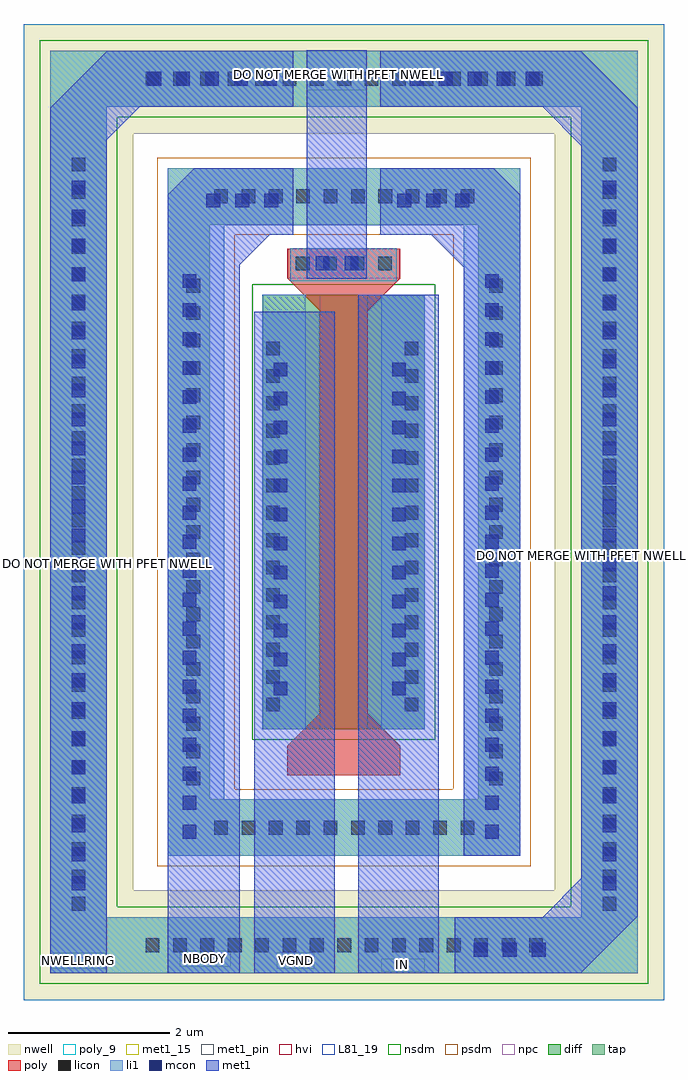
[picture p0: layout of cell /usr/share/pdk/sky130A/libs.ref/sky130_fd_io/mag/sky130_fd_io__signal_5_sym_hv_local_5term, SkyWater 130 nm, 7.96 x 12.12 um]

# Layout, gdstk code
import gdstk
lib = gdstk.Library(unit=1e-6, precision=1e-09)
def R(c, l, rs):  # rectangles x0, y0, x1, y1
    for r in rs: c.add(gdstk.rectangle(r[:2], r[2:], *l))
def A(c, l, x, y, w, h, nx, ny, dx, dy):  # array of equal rectangles
    R(c, l, [(x+i*dx, y+j*dy, x+i*dx+w, y+j*dy+h) for i in range(nx) for j in range(ny)])
def P(c, l, *ps):  # polygons
    for p in ps: c.add(gdstk.Polygon(p, *l))
nwell = (64, 20)
diff = (65, 20)
tap = (65, 44)
poly_9 = (66, 9)
poly = (66, 20)
licon = (66, 44)
li1 = (67, 20)
mcon = (67, 44)
met1_15 = (68, 15)
met1_pin = (68, 16)
met1 = (68, 20)
hvi = (75, 20)
L81_19 = (81, 19)
nsdm = (93, 44)
psdm = (94, 20)
npc = (95, 20)

sky130_fd_pr__via_pol1__ = lib.new_cell('sky130_fd_pr__via_pol1__example_55959141808147')
R(sky130_fd_pr__via_pol1__, poly, [(0,0,1.35,0.33)])
A(sky130_fd_pr__via_pol1__, licon, 0.08, 0.08, 0.17, 0.17, 4, 1, 0.34, 0)
R(sky130_fd_pr__via_pol1__, li1, [(0.08,0,1.27,0.33)])
R(sky130_fd_pr__via_pol1__, npc, [(-0.02,-0.02,1.37,0.35)])

sky130_fd_pr__tpl1__exam = lib.new_cell('sky130_fd_pr__tpl1__example_55959141808148')
R(sky130_fd_pr__tpl1__exam, nwell, [(-0.18,-0.18,5.35,0.59)])
R(sky130_fd_pr__tpl1__exam, tap, [(0,0,5.17,0.41)])
A(sky130_fd_pr__tpl1__exam, licon, 0.12, 0.12, 0.17, 0.17, 15, 1, 0.34, 0)
R(sky130_fd_pr__tpl1__exam, li1, [(0.12,0.04,5.05,0.37)])
R(sky130_fd_pr__tpl1__exam, nsdm, [(-0.13,-0.13,5.3,0.54)])

c_sky130_fd_pr__tpl1__exam = lib.new_cell('sky130_fd_pr__tpl1__example_55959141808149')
R(c_sky130_fd_pr__tpl1__exam, tap, [(0,0,3.47,0.41)])
A(c_sky130_fd_pr__tpl1__exam, licon, 0.12, 0.12, 0.17, 0.17, 10, 1, 0.34, 0)
R(c_sky130_fd_pr__tpl1__exam, li1, [(0.12,0.04,3.35,0.37)])
R(c_sky130_fd_pr__tpl1__exam, psdm, [(-0.13,-0.13,3.6,0.54)])

c_sky130_fd_pr__tpl1__exam_ = lib.new_cell('sky130_fd_pr__tpl1__example_55959141808150')
R(c_sky130_fd_pr__tpl1__exam_, tap, [(0,0,0.41,6.53)])
A(c_sky130_fd_pr__tpl1__exam_, licon, 0.12, 0.12, 0.17, 0.17, 1, 19, 0, 0.34)
R(c_sky130_fd_pr__tpl1__exam_, li1, [(0.12,0.04,0.29,6.49)])
R(c_sky130_fd_pr__tpl1__exam_, psdm, [(-0.13,-0.13,0.54,6.66)])

c_sky130_fd_pr__tpl1__exam__ = lib.new_cell('sky130_fd_pr__tpl1__example_55959141808151')
R(c_sky130_fd_pr__tpl1__exam__, nwell, [(-0.18,-0.18,0.59,9.77)])
R(c_sky130_fd_pr__tpl1__exam__, tap, [(0,0,0.41,9.59)])
A(c_sky130_fd_pr__tpl1__exam__, licon, 0.12, 0.12, 0.17, 0.17, 1, 28, 0, 0.34)
R(c_sky130_fd_pr__tpl1__exam__, li1, [(0.12,0.04,0.29,9.55)])
R(c_sky130_fd_pr__tpl1__exam__, nsdm, [(-0.13,-0.13,0.54,9.72)])

sky130_fd_pr__via_l1m1__ = lib.new_cell('sky130_fd_pr__via_l1m1__example_55959141808152')
R(sky130_fd_pr__via_l1m1__, li1, [(0,0,0.89,0.17)])
A(sky130_fd_pr__via_l1m1__, mcon, 0, 0, 0.17, 0.17, 3, 1, 0.36, 0)
R(sky130_fd_pr__via_l1m1__, met1, [(-0.06,-0.03,0.95,0.2)])

c_sky130_fd_pr__via_l1m1__ = lib.new_cell('sky130_fd_pr__via_l1m1__example_55959141808153')
R(c_sky130_fd_pr__via_l1m1__, li1, [(0,0,0.17,8.81)])
A(c_sky130_fd_pr__via_l1m1__, mcon, 0, 0, 0.17, 0.17, 1, 25, 0, 0.36)
R(c_sky130_fd_pr__via_l1m1__, met1, [(-0.06,-0.03,0.23,8.84)])

c_sky130_fd_pr__via_l1m1___ = lib.new_cell('sky130_fd_pr__via_l1m1__example_55959141808154')
R(c_sky130_fd_pr__via_l1m1___, li1, [(0,0,0.17,7.01)])
A(c_sky130_fd_pr__via_l1m1___, mcon, 0, 0, 0.17, 0.17, 1, 20, 0, 0.36)
R(c_sky130_fd_pr__via_l1m1___, met1, [(-0.06,-0.03,0.23,7.04)])

c_sky130_fd_pr__via_l1m1____ = lib.new_cell('sky130_fd_pr__via_l1m1__example_55959141808155')
R(c_sky130_fd_pr__via_l1m1____, li1, [(0,0,0.17,4.13)])
A(c_sky130_fd_pr__via_l1m1____, mcon, 0, 0, 0.17, 0.17, 1, 12, 0, 0.36)
R(c_sky130_fd_pr__via_l1m1____, met1, [(-0.06,-0.03,0.23,4.16)])

c_sky130_fd_pr__via_l1m1_____ = lib.new_cell('sky130_fd_pr__via_l1m1__example_55959141808156')
R(c_sky130_fd_pr__via_l1m1_____, li1, [(0,0,1.61,0.17)])
A(c_sky130_fd_pr__via_l1m1_____, mcon, 0, 0, 0.17, 0.17, 5, 1, 0.36, 0)
R(c_sky130_fd_pr__via_l1m1_____, met1, [(-0.06,-0.03,1.67,0.2)])

c_sky130_fd_pr__via_l1m1______ = lib.new_cell('sky130_fd_pr__via_l1m1__example_55959141808157')
R(c_sky130_fd_pr__via_l1m1______, li1, [(0,0,0.53,0.17)])
R(c_sky130_fd_pr__via_l1m1______, mcon, [(0,0,0.17,0.17), (0.36,0,0.53,0.17)])
R(c_sky130_fd_pr__via_l1m1______, met1, [(-0.06,-0.03,0.59,0.2)])

sky130_fd_pr__dfl1__exam = lib.new_cell('sky130_fd_pr__dfl1__example_55959141808158')
R(sky130_fd_pr__dfl1__exam, diff, [(0,0,0.25,4.71)])
A(sky130_fd_pr__dfl1__exam, licon, 0.04, 0.06, 0.17, 0.17, 1, 14, 0, 0.34)
R(sky130_fd_pr__dfl1__exam, li1, [(0.04,-0.02,0.21,4.73)])
R(sky130_fd_pr__dfl1__exam, nsdm, [(-0.13,-0.13,0.38,4.84)])

c__usr_share_pdk_sky130a_l = lib.new_cell('/usr/share/pdk/sky130A/libs.ref/sky130_fd_io/mag/sky130_fd_io__signal_5_sym_hv_local_5term')
P(c__usr_share_pdk_sky130a_l, nwell, [(7.955,12.12),(6.595,12.12),(6.595,1.36),(1.36,1.36),(1.36,10.76),(6.595,10.76),(6.595,12.12),(0,12.12),(0,0),(7.955,0)])
R(c__usr_share_pdk_sky130a_l, diff, [(2.97,3.36,4.98,8.76)])
P(c__usr_share_pdk_sky130a_l, tap, [(6.165,10.33),(5.645,10.33),(5.645,2.49),(2.31,2.49),(2.31,9.63),(5.645,9.63),(5.645,10.33),(1.79,10.33),(1.79,1.79),(6.165,1.79)],
  [(7.625,11.79),(6.925,11.79),(6.925,1.03),(1.03,1.03),(1.03,11.09),(6.925,11.09),(6.925,11.79),(0.33,11.79),(0.33,0.33),(7.625,0.33)])
R(c__usr_share_pdk_sky130a_l, poly_9, [(3.675,3.36,4.275,8.76)])
P(c__usr_share_pdk_sky130a_l, poly, [(4.675,3.16),(4.275,3.56),(4.275,8.56),(4.675,8.96),(4.675,9.33),(3.275,9.33),(3.275,8.96),(3.675,8.56),(3.675,3.56),(3.275,3.16),(3.275,2.79),(4.675,2.79)])
R(c__usr_share_pdk_sky130a_l, li1, [(2.965,3.36,3.505,8.755), (4.44,3.36,4.98,8.755), (3.31,8.925,4.635,9.335)])
P(c__usr_share_pdk_sky130a_l, li1, [(7.625,11.79),(6.925,11.79),(6.925,1.03),(1.03,1.03),(1.03,11.09),(6.925,11.09),(6.925,11.79),(0.33,11.79),(0.33,0.33),(7.625,0.33)],
  [(6.165,10.33),(5.465,10.33),(5.465,2.49),(2.49,2.49),(2.49,9.62),(5.465,9.62),(5.465,10.33),(1.79,10.33),(1.79,1.79),(6.165,1.79)])
P(c__usr_share_pdk_sky130a_l, met1_15, [(2.68,0.345),(2.675,0.345),(2.675,0.335),(2.67,0.335),(2.67,0.34),(2.675,0.34),(2.675,0.345),(2.665,0.345),(2.665,0.33),(2.68,0.33)],
  [(1.03,0.345),(1.025,0.345),(1.025,0.335),(1.02,0.335),(1.02,0.34),(1.025,0.34),(1.025,0.345),(1.015,0.345),(1.015,0.33),(1.03,0.33)])
R(c__usr_share_pdk_sky130a_l, met1_pin, [(4.44,0.35,4.98,0.515), (0.34,0.385,1.02,0.585), (3.14,0.39,3.605,0.59), (1.935,0.41,2.57,0.61), (3.515,11.295,4.26,11.795)])
R(c__usr_share_pdk_sky130a_l, met1, [(2.86,0.33,3.86,8.545), (4.155,0.33,5.155,8.76), (3.515,8.955,4.26,11.795)])
P(c__usr_share_pdk_sky130a_l, met1, [(6.165,10),(5.835,10.33),(4.43,10.33),(4.43,9.505),(5.06,9.505),(5.465,9.1),(5.465,1.79),(6.165,1.79)],
  [(7.625,11.08),(6.915,11.79),(4.43,11.79),(4.43,11.09),(6.445,11.09),(6.925,10.61),(6.925,1.51),(6.445,1.03),(5.35,1.03),(5.35,0.33),(6.915,0.33),(7.625,1.04)],
  [(3.345,11.79),(1.04,11.79),(0.33,11.08),(0.33,0.33),(1.03,0.33),(1.03,10.68),(1.44,11.09),(3.345,11.09)],
  [(3.345,10.33),(2.12,10.33),(1.79,10),(1.79,0.33),(2.68,0.33),(2.68,9.13),(3.055,9.505),(3.345,9.505)])
R(c__usr_share_pdk_sky130a_l, hvi, [(0,0,7.955,12.12)])
R(c__usr_share_pdk_sky130a_l, L81_19, [(0,0,7.955,12.12)])
R(c__usr_share_pdk_sky130a_l, nsdm, [(2.84,3.23,5.11,8.89)])
P(c__usr_share_pdk_sky130a_l, nsdm, [(7.755,11.92),(6.795,11.92),(6.795,1.16),(1.16,1.16),(1.16,10.96),(6.795,10.96),(6.795,11.92),(0.2,11.92),(0.2,0.2),(7.755,0.2)])
P(c__usr_share_pdk_sky130a_l, psdm, [(6.295,10.46),(5.335,10.46),(5.335,2.62),(2.62,2.62),(2.62,9.5),(5.335,9.5),(5.335,10.46),(1.66,10.46),(1.66,1.66),(6.295,1.66)])
c__usr_share_pdk_sky130a_l.add(gdstk.Reference(sky130_fd_pr__via_pol1__, (3.3,8.98)))
c__usr_share_pdk_sky130a_l.add(gdstk.Reference(sky130_fd_pr__tpl1__exam, (1.395,11.235)))
c__usr_share_pdk_sky130a_l.add(gdstk.Reference(sky130_fd_pr__tpl1__exam, (1.395,0.475)))
c__usr_share_pdk_sky130a_l.add(gdstk.Reference(c_sky130_fd_pr__tpl1__exam, (2.245,1.935)))
c__usr_share_pdk_sky130a_l.add(gdstk.Reference(c_sky130_fd_pr__tpl1__exam, (2.245,9.775)))
c__usr_share_pdk_sky130a_l.add(gdstk.Reference(c_sky130_fd_pr__tpl1__exam_, (5.66,2.545)))
c__usr_share_pdk_sky130a_l.add(gdstk.Reference(c_sky130_fd_pr__tpl1__exam_, (1.9,2.545)))
c__usr_share_pdk_sky130a_l.add(gdstk.Reference(c_sky130_fd_pr__tpl1__exam__, (7.07,0.99)))
c__usr_share_pdk_sky130a_l.add(gdstk.Reference(c_sky130_fd_pr__tpl1__exam__, (0.475,0.99)))
c__usr_share_pdk_sky130a_l.add(gdstk.Reference(sky130_fd_pr__via_l1m1__, (4.64,9.845)))
c__usr_share_pdk_sky130a_l.add(gdstk.Reference(sky130_fd_pr__via_l1m1__, (2.27,9.845)))
c__usr_share_pdk_sky130a_l.add(gdstk.Reference(sky130_fd_pr__via_l1m1__, (5.59,0.54)))
c__usr_share_pdk_sky130a_l.add(gdstk.Reference(c_sky130_fd_pr__via_l1m1__, (7.19,1.365)))
c__usr_share_pdk_sky130a_l.add(gdstk.Reference(c_sky130_fd_pr__via_l1m1__, (0.595,1.365)))
c__usr_share_pdk_sky130a_l.add(gdstk.Reference(c_sky130_fd_pr__via_l1m1___, (1.975,2.005)))
c__usr_share_pdk_sky130a_l.add(gdstk.Reference(c_sky130_fd_pr__via_l1m1___, (5.73,2.005)))
c__usr_share_pdk_sky130a_l.add(gdstk.Reference(c_sky130_fd_pr__via_l1m1____, (3.105,3.785)))
c__usr_share_pdk_sky130a_l.add(gdstk.Reference(c_sky130_fd_pr__via_l1m1____, (4.575,3.785)))
c__usr_share_pdk_sky130a_l.add(gdstk.Reference(c_sky130_fd_pr__via_l1m1_____, (1.535,11.355)))
c__usr_share_pdk_sky130a_l.add(gdstk.Reference(c_sky130_fd_pr__via_l1m1_____, (4.795,11.355)))
c__usr_share_pdk_sky130a_l.add(gdstk.Reference(c_sky130_fd_pr__via_l1m1______, (3.625,9.065)))
c__usr_share_pdk_sky130a_l.add(gdstk.Reference(sky130_fd_pr__dfl1__exam, (2.97,3.525)))
c__usr_share_pdk_sky130a_l.add(gdstk.Reference(sky130_fd_pr__dfl1__exam, (4.69,3.525)))
c__usr_share_pdk_sky130a_l.add(gdstk.Label('DO NOT MERGE WITH PFET NWELL', (7.26,5.515), layer=83, texttype=44))
c__usr_share_pdk_sky130a_l.add(gdstk.Label('DO NOT MERGE WITH PFET NWELL', (0.645,5.425), layer=83, texttype=44))
c__usr_share_pdk_sky130a_l.add(gdstk.Label('DO NOT MERGE WITH PFET NWELL', (3.915,11.49), layer=83, texttype=44))
c__usr_share_pdk_sky130a_l.add(gdstk.Label('GATE', (3.9,11.545), layer=68, texttype=5))
c__usr_share_pdk_sky130a_l.add(gdstk.Label('NWELLRING', (0.68,0.485), layer=68, texttype=5))
c__usr_share_pdk_sky130a_l.add(gdstk.Label('VGND', (3.385,0.49), layer=68, texttype=5))
c__usr_share_pdk_sky130a_l.add(gdstk.Label('NBODY', (2.245,0.51), layer=68, texttype=5))
c__usr_share_pdk_sky130a_l.add(gdstk.Label('IN', (4.71,0.435), layer=68, texttype=5))

lib.write_gds('_usr_share_pdk_sky130A_libs.ref_sky130_fd_io_mag_sky130_fd_io__signal_5_sym_hv_local_5term.gds')
